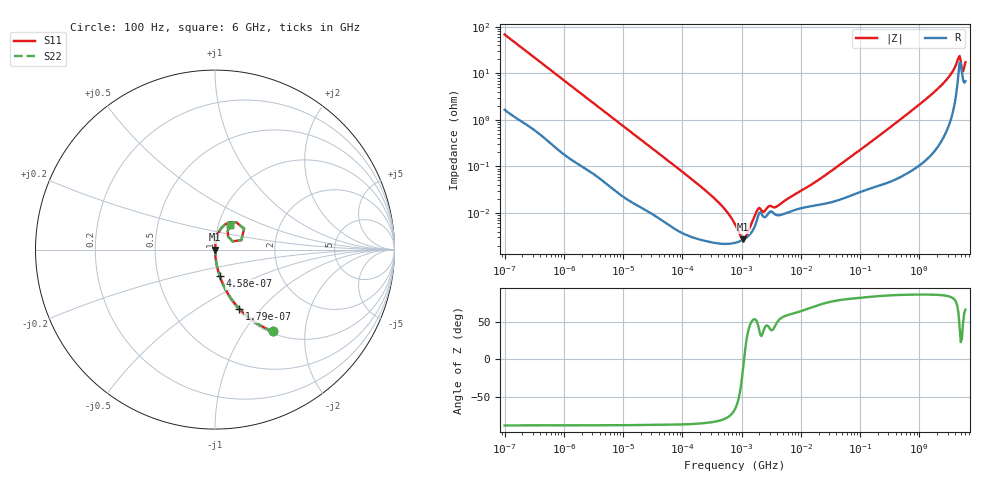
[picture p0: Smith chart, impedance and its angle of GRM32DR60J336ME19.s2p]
!Murata Part Number: GRM32DR60J336ME19
!These Parameters are Measured in Series Mode Connection
!Data Generated on Mar 30, 2021
!  o--ll--o
!Port1  Port2
!  o------o
!Operation Temp=25[degC], DC Bias Voltage=0[V]
!Freq. Start=100[Hz] Stop=6[GHz] 401[Steps]
# Hz S RI R 50
!Freq.(Hz) S11(Real) S11(Imag) S21(Real) S21(Imag) S12(Real) S12(Imag) S22(Real) S22(Imag)
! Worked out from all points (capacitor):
!   401 points, 100 Hz to 6 GHz, reference 50 ohm
!   read as one part in series: C = 23.2 uF near 109 Hz
!   lowest |Z| = 2.72 mohm at 1.06 MHz (marker M1)
!   series resonance near 1.101 MHz, so ESL is about 900 pH
!   S11 on the Smith chart (normalised r, x): 100 Hz: 1.03, -1.37; 179 Hz: 1.02, -0.77; 458 Hz: 1.01, -0.31; 6 GHz: 1.14, +0.32
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100  0.3224 -0.4555  0.6776 0.4555  0.6776 0.4555  0.3224 -0.4555
179  0.1352 -0.3294  0.8648 0.3294  0.8648 0.3294  0.1352 -0.3294
458  0.0267 -0.1482  0.9733 0.1482  0.9733 0.1482  0.0267 -0.1482
2008  0.00227 -0.0356  0.9977 0.0356  0.9977 0.0356  0.00227 -0.0356
40335  8.01e-05 -0.00188  0.9999 0.00188  0.9999 0.00188  8.01e-05 -0.00188
252896  2.49e-05 -0.000294  1 0.000294  1 0.000294  2.49e-05 -0.000294
566185  2.17e-05 -0.000104  1 0.000104  1 0.000104  2.17e-05 -0.000104
774597  2.28e-05 -5.29e-05  1 5.29e-05  1 5.29e-05  2.28e-05 -5.29e-05
1059725  2.66e-05 -5.8e-06  1 5.8e-06  1 5.8e-06  2.66e-05 -5.8e-06
1585629  4.48e-05 6.11e-05  1 -6.11e-05  1 -6.11e-05  4.48e-05 6.11e-05
1983483  9.99e-05 8.2e-05  0.9999 -8.2e-05  0.9999 -8.2e-05  9.99e-05 8.2e-05
2372521  8.2e-05 6.82e-05  0.9999 -6.82e-05  0.9999 -6.82e-05  8.2e-05 6.82e-05
2967816  0.000105 9.49e-05  0.9999 -9.49e-05  0.9999 -9.49e-05  0.000105 9.49e-05
3882480  9.05e-05 0.000102  0.9999 -0.000102  0.9999 -0.000102  9.05e-05 0.000102
1.555665e7  0.000142 0.000394  0.9999 -0.000394  0.9999 -0.000394  0.000142 0.000394
3.124326e8  0.000506 0.0067  0.9995 -0.0067  0.9995 -0.0067  0.000506 0.0067
2.142435e9  0.00523 0.0487  0.9948 -0.0487  0.9948 -0.0487  0.00523 0.0487
3.352442e9  0.0177 0.0901  0.9823 -0.0901  0.9823 -0.0901  0.0177 0.0901
4.385646e9  0.0784 0.1512  0.9216 -0.1512  0.9216 -0.1512  0.0784 0.1512
4.586474e9  0.1178 0.1532  0.8822 -0.1532  0.8822 -0.1532  0.1178 0.1532
5.486059e9  0.0728 0.0732  0.9272 -0.0732  0.9272 -0.0732  0.0728 0.0732
6e9  0.0842 0.1367  0.9158 -0.1367  0.9158 -0.1367  0.0842 0.1367
